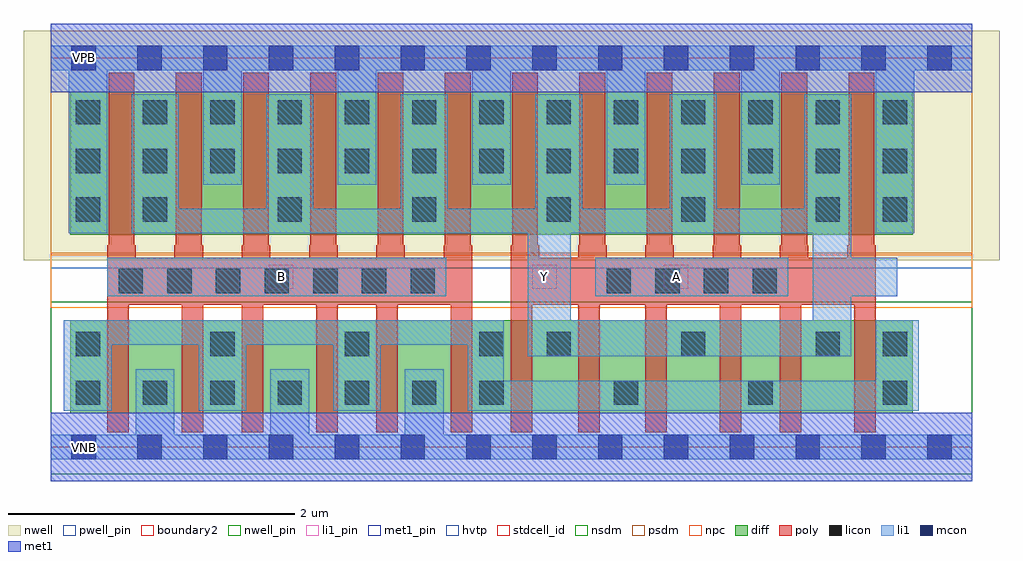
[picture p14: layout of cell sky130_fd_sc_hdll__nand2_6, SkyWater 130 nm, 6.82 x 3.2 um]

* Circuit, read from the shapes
.subckt sky130_fd_sc_hdll__nand2_6 A B VGND VNB VPB VPWR Y
XM1 VGND B n1 VNB sky130_fd_pr__nfet_01v8 w=0.65 l=0.15 m=6
XM2 Y A n1 VNB sky130_fd_pr__nfet_01v8 w=0.65 l=0.15 m=6
XM3 Y B VPWR VPB sky130_fd_pr__pfet_01v8_hvt w=1 l=0.18 m=6
XM4 Y A VPWR VPB sky130_fd_pr__pfet_01v8_hvt w=1 l=0.18 m=6
.ends

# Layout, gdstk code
import gdstk
lib = gdstk.Library(unit=1e-6, precision=1e-09)
def R(c, l, rs):  # rectangles x0, y0, x1, y1
    for r in rs: c.add(gdstk.rectangle(r[:2], r[2:], *l))
def A(c, l, x, y, w, h, nx, ny, dx, dy):  # array of equal rectangles
    R(c, l, [(x+i*dx, y+j*dy, x+i*dx+w, y+j*dy+h) for i in range(nx) for j in range(ny)])
def P(c, l, *ps):  # polygons
    for p in ps: c.add(gdstk.Polygon(p, *l))
nwell_pin = (64, 16)
nwell = (64, 20)
diff = (65, 20)
poly = (66, 20)
licon = (66, 44)
li1_pin = (67, 16)
li1 = (67, 20)
mcon = (67, 44)
met1_pin = (68, 16)
met1 = (68, 20)
hvtp = (78, 44)
stdcell_id = (81, 4)
nsdm = (93, 44)
psdm = (94, 20)
npc = (95, 20)
pwell_pin = (122, 16)
boundary2 = (236, 0)

sky130_fd_sc_hdll__nand2 = lib.new_cell('sky130_fd_sc_hdll__nand2_6')
R(sky130_fd_sc_hdll__nand2, nwell_pin, [(0.15,2.635,0.32,2.805)])
R(sky130_fd_sc_hdll__nand2, nwell, [(-0.19,1.305,6.63,2.91)])
R(sky130_fd_sc_hdll__nand2, diff, [(0.135,0.235,6.025,0.885), (0.135,1.485,6.025,2.485)])
P(sky130_fd_sc_hdll__nand2, poly, [(5.765,1.41),(5.755,1.41),(5.755,2.615),(5.575,2.615),(5.575,1.41),(5.565,1.41),(5.565,1.325),(5.295,1.325),(5.295,1.41),(5.285,1.41),(5.285,2.615),(5.105,2.615),(5.105,1.41),(5.095,1.41),(5.095,1.325),(4.825,1.325),(4.825,1.41),(4.815,1.41),(4.815,2.615),(4.635,2.615),(4.635,1.41),(4.625,1.41),(4.625,1.325),(4.355,1.325),(4.355,1.41),(4.345,1.41),(4.345,2.615),(4.165,2.615),(4.165,1.41),(4.155,1.41),(4.155,1.325),(3.885,1.325),(3.885,1.41),(3.875,1.41),(3.875,2.615),(3.695,2.615),(3.695,1.41),(3.685,1.41),(3.685,1.325),(3.415,1.325),(3.415,1.41),(3.405,1.41),(3.405,2.615),(3.225,2.615),(3.225,1.41),(3.215,1.41),(3.215,0.105),(3.365,0.105),(3.365,0.995),(3.685,0.995),(3.685,0.105),(3.835,0.105),(3.835,0.995),(4.155,0.995),(4.155,0.105),(4.305,0.105),(4.305,0.995),(4.675,0.995),(4.675,0.105),(4.825,0.105),(4.825,0.995),(5.095,0.995),(5.095,0.105),(5.245,0.105),(5.245,0.995),(5.615,0.995),(5.615,0.105),(5.765,0.105)],
  [(2.945,1.41),(2.935,1.41),(2.935,2.615),(2.755,2.615),(2.755,1.41),(2.745,1.41),(2.745,1.325),(2.475,1.325),(2.475,1.41),(2.465,1.41),(2.465,2.615),(2.285,2.615),(2.285,1.41),(2.275,1.41),(2.275,1.325),(2.005,1.325),(2.005,1.41),(1.995,1.41),(1.995,2.615),(1.815,2.615),(1.815,1.41),(1.805,1.41),(1.805,1.325),(1.535,1.325),(1.535,1.41),(1.525,1.41),(1.525,2.615),(1.345,2.615),(1.345,1.41),(1.335,1.41),(1.335,1.325),(1.065,1.325),(1.065,1.41),(1.055,1.41),(1.055,2.615),(0.875,2.615),(0.875,1.41),(0.865,1.41),(0.865,1.325),(0.595,1.325),(0.595,1.41),(0.585,1.41),(0.585,2.615),(0.405,2.615),(0.405,1.41),(0.395,1.41),(0.395,0.105),(0.545,0.105),(0.545,0.995),(0.915,0.995),(0.915,0.105),(1.065,0.105),(1.065,0.995),(1.335,0.995),(1.335,0.105),(1.485,0.105),(1.485,0.995),(1.855,0.995),(1.855,0.105),(2.005,0.105),(2.005,0.995),(2.275,0.995),(2.275,0.105),(2.425,0.105),(2.425,0.995),(2.795,0.995),(2.795,0.105),(2.945,0.105)])
A(sky130_fd_sc_hdll__nand2, licon, 0.175, 0.295, 0.17, 0.17, 7, 1, 0.47, 0)
A(sky130_fd_sc_hdll__nand2, licon, 3.935, 0.295, 0.17, 0.17, 3, 1, 0.94, 0)
A(sky130_fd_sc_hdll__nand2, licon, 0.175, 0.635, 0.17, 0.17, 4, 1, 0.94, 0)
A(sky130_fd_sc_hdll__nand2, licon, 3.465, 0.635, 0.17, 0.17, 3, 1, 0.94, 0)
A(sky130_fd_sc_hdll__nand2, licon, 0.475, 1.075, 0.17, 0.17, 7, 1, 0.34, 0)
A(sky130_fd_sc_hdll__nand2, licon, 3.885, 1.075, 0.17, 0.17, 4, 1, 0.34, 0)
A(sky130_fd_sc_hdll__nand2, licon, 0.645, 1.575, 0.17, 0.17, 6, 1, 0.94, 0)
A(sky130_fd_sc_hdll__nand2, licon, 0.175, 1.915, 0.17, 0.17, 13, 2, 0.47, 0.34)
R(sky130_fd_sc_hdll__nand2, licon, [(5.815,0.635,5.985,0.805), (0.175,1.575,0.345,1.745), (5.815,1.575,5.985,1.745)])
R(sky130_fd_sc_hdll__nand2, li1_pin, [(1.525,1.105,1.695,1.275), (3.365,1.105,3.535,1.275), (4.285,1.105,4.455,1.275)])
R(sky130_fd_sc_hdll__nand2, li1, [(0.395,1.055,2.765,1.325), (3.805,1.055,5.155,1.325)])
P(sky130_fd_sc_hdll__nand2, li1, [(6.44,0.085),(2.745,0.085),(2.745,0.545),(2.475,0.545),(2.475,0.085),(1.805,0.085),(1.805,0.545),(1.535,0.545),(1.535,0.085),(0.865,0.085),(0.865,0.545),(0.595,0.545),(0.595,0.085),(0,0.085),(0,-0.085),(6.44,-0.085)],
  [(6.44,2.805),(0,2.805),(0,2.635),(0.125,2.635),(0.125,1.495),(0.395,1.495),(0.395,2.635),(1.065,2.635),(1.065,1.835),(1.335,1.835),(1.335,2.635),(2.005,2.635),(2.005,1.835),(2.275,1.835),(2.275,2.635),(2.945,2.635),(2.945,1.835),(3.215,1.835),(3.215,2.635),(3.885,2.635),(3.885,1.835),(4.155,1.835),(4.155,2.635),(4.825,2.635),(4.825,1.835),(5.095,1.835),(5.095,2.635),(5.765,2.635),(5.765,1.495),(6.035,1.495),(6.035,2.635),(6.44,2.635)],
  [(6.065,0.885),(5.765,0.885),(5.765,0.465),(3.165,0.465),(3.165,0.885),(0.09,0.885),(0.09,0.255),(0.425,0.255),(0.425,0.715),(1.035,0.715),(1.035,0.255),(1.365,0.255),(1.365,0.715),(1.975,0.715),(1.975,0.255),(2.305,0.255),(2.305,0.715),(2.915,0.715),(2.915,0.255),(6.065,0.255)],
  [(5.915,1.325),(5.595,1.325),(5.595,2.465),(5.325,2.465),(5.325,0.885),(3.635,0.885),(3.635,1.495),(5.325,1.495),(5.325,2.465),(5.265,2.465),(5.265,1.665),(4.655,1.665),(4.655,2.465),(4.325,2.465),(4.325,1.665),(3.715,1.665),(3.715,2.465),(3.385,2.465),(3.385,1.665),(2.775,1.665),(2.775,2.465),(2.445,2.465),(2.445,1.665),(1.835,1.665),(1.835,2.465),(1.505,2.465),(1.505,1.665),(0.895,1.665),(0.895,2.465),(0.565,2.465),(0.565,1.495),(3.335,1.495),(3.335,0.635),(5.595,0.635),(5.595,1.055),(5.915,1.055)])
A(sky130_fd_sc_hdll__nand2, mcon, 0.145, -0.085, 0.17, 0.17, 14, 2, 0.46, 2.72)
R(sky130_fd_sc_hdll__nand2, met1_pin, [(0.15,-0.085,0.32,0.085), (0.15,2.635,0.32,2.805)])
R(sky130_fd_sc_hdll__nand2, met1, [(0,-0.24,6.44,0.24), (0,2.48,6.44,2.96)])
R(sky130_fd_sc_hdll__nand2, hvtp, [(0,1.25,6.44,2.72)])
R(sky130_fd_sc_hdll__nand2, stdcell_id, [(0,0,6.44,2.72)])
R(sky130_fd_sc_hdll__nand2, nsdm, [(0,-0.19,6.44,1.015)])
R(sky130_fd_sc_hdll__nand2, psdm, [(0,1.355,6.44,2.91)])
R(sky130_fd_sc_hdll__nand2, npc, [(0,0.975,6.44,1.345)])
R(sky130_fd_sc_hdll__nand2, pwell_pin, [(0.15,-0.085,0.32,0.085)])
R(sky130_fd_sc_hdll__nand2, boundary2, [(0,0,6.44,2.72)])
sky130_fd_sc_hdll__nand2.add(gdstk.Label('Y', (3.45,1.19), layer=67, texttype=5))
sky130_fd_sc_hdll__nand2.add(gdstk.Label('A', (4.37,1.19), layer=67, texttype=5))
sky130_fd_sc_hdll__nand2.add(gdstk.Label('B', (1.61,1.19), layer=67, texttype=5))
sky130_fd_sc_hdll__nand2.add(gdstk.Label('VPB', (0.235,2.72), layer=64, texttype=5))
sky130_fd_sc_hdll__nand2.add(gdstk.Label('VNB', (0.235,0), layer=64, texttype=59))
sky130_fd_sc_hdll__nand2.add(gdstk.Label('VGND', (0.235,0), layer=68, texttype=5))
sky130_fd_sc_hdll__nand2.add(gdstk.Label('VPWR', (0.235,2.72), layer=68, texttype=5))
sky130_fd_sc_hdll__nand2.add(gdstk.Label('nand2_6', (0,0), layer=83, texttype=44))

lib.write_gds('sky130_fd_sc_hdll__nand2_6.gds')
